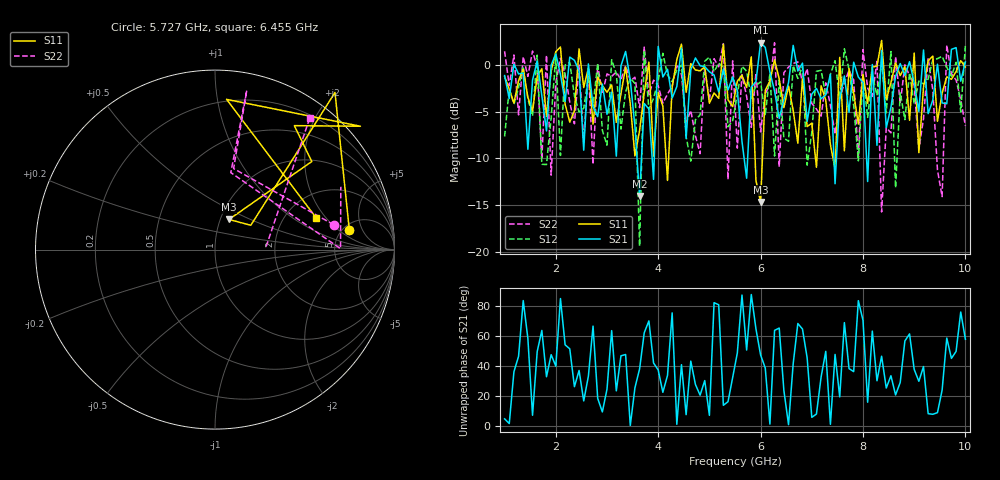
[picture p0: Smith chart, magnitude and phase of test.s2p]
! Created with skrf 1.12.0 (http://scikit-rf.org).
# GHz S RI R 50.0
!freq ReS11 ImS11 ReS21 ImS21 ReS12 ImS12 ReS22 ImS22
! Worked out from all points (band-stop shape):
!   100 points, 1 GHz to 10 GHz, reference 50 ohm
!   highest |S21| = 2.36 dB at 6 GHz (marker M1); lowest = -14.0 dB at 3.636 GHz (marker M2)
!   |S21| within 3 dB of the highest: 1.901 GHz to 2.074 GHz (173 MHz wide, 8.7 % of centre); 4.635 GHz to 4.981 GHz (345.9 MHz wide, 7.19 % of centre) (the widest 2 of 23)
!   lowest |S11| = -14.7 dB at 6 GHz (marker M3), VSWR 1.45, Z = 54.9 + j19.1 ohm
!   |S11| at or under -10 dB: 4.155 GHz to 4.203 GHz (48.38 MHz wide, 1.16 % of centre); 5.893 GHz to 6.036 GHz (142.6 MHz wide, 2.39 % of centre); 7.072761 GHz to 7.100739 GHz (27.98 MHz wide, 0.395 % of centre) (the widest 3 of 4)
!   |S22| runs from -15.7 to 2.3 dB; largest |S21 - S12| = 1.1
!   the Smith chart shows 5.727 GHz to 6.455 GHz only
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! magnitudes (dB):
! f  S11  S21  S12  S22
! 1 GHz  -1.3  -1.2  -7.7  1.4
! 2.545 GHz  -2.4  -9.1  -4.7  -8.2
! 3.545 GHz  -9.7  -6.6  -2.0  -1.3
! 3.636 GHz  -7.0  -14.0  -19.4  -4.6
! 3.727 GHz  -3.0  -4.1  1.5  1.9
! 3.909 GHz  -9.7  -12.2  -3.6  -1.6
! 4 GHz  -3.0  1.9  -1.7  -2.2
! 5.273 GHz  2.2  -0.5  -0.3  2.2
! 5.364 GHz  -3.7  -2.7  -6.6  -12.2
! 5.455 GHz  -4.5  -1.3  -6.0  0.4
! 5.545 GHz  -1.8  -2.8  -3.2  -8.9
! 5.727 GHz  -2.4  -12.1  -0.7  -3.4
! 6 GHz  -14.7  2.4  -1.8  -7.2
! 6.273 GHz  0.5  -2.8  -9.7  2.3
! 6.364 GHz  -1.5  -5.7  -1.6  -10.9
! 7 GHz  -6.2  -3.1  -7.2  -4.1
! 8.545 GHz  -1.9  -4.6  1.4  -7.3
! 8.636 GHz  0.2  -1.3  -13.1  0.8
! 9.273 GHz  0.4  -5.2  -1.5  0.7
! 9.545 GHz  -3.0  -4.1  0.9  -14.1
! 9.636 GHz  -1.3  -4.2  -0.3  2.1
! 10 GHz  -0.2  0.3  2.1  -6.5
